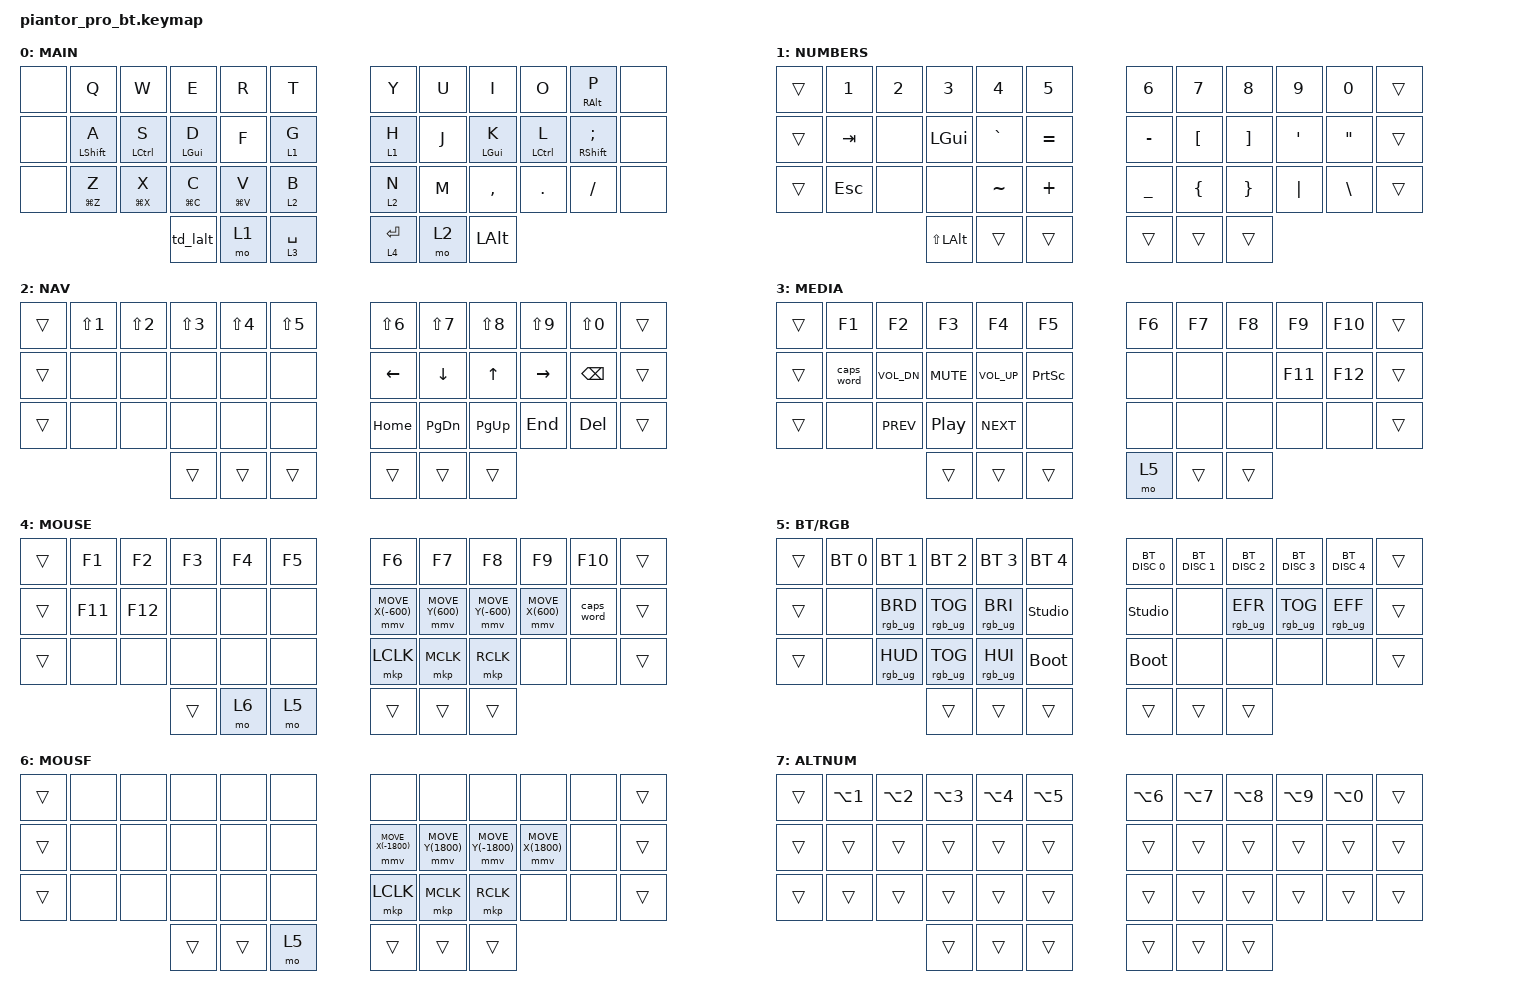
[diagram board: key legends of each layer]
/*
 * Copyright (c) 2020 The ZMK Contributors
 *
 * SPDX-License-Identifier: MIT
 */

#include <behaviors.dtsi>
#include <dt-bindings/zmk/keys.h>
#include <dt-bindings/zmk/bt.h>
#include <dt-bindings/zmk/rgb.h>
#include <dt-bindings/zmk/pointing.h>
#include "key-labels/split42.h"
#include "behaviors.dtsi"
#include "combos_split42.dtsi"

/ {
    chosen { zmk,physical-layout = &default_layout; };

    keymap {
        compatible = "zmk,keymap";

        default_layer {
            display-name = "MAIN";
            bindings = <
            &none   &kp Q               &kp W               &kp E               &kp R               &kp T            &kp Y           &kp U             &kp I                 &kp O            &hmr RALT P      &none
            &none   &hml LSHIFT A       &hml LCTRL S        &hml LGUI D         &kp F               &ltq 1 G         &ltq 1 H        &kp J             &hmr LGUI K           &hmr LCTRL L     &hmr RSHIFT SEMI &none
            &none   &mts LG(Z) Z        &mts LG(X) X        &mts LG(C) C        &mts LG(V) V        &ltq 2 B         &ltq 2 N        &kp M             &kp COMMA             &kp DOT          &kp FSLH         &none
                                                            &td_lalt            &mo 1               &lts 3 SPACE     &lts 4 RET      &mo 2             &kp LALT
>;
        };

        numbers_layer {
            display-name = "NUMBERS";
            bindings = <
            &trans  &kp N1              &kp N2              &kp N3              &kp N4              &kp N5           &kp N6          &kp N7            &kp N8                &kp N9           &kp N0           &trans
            &trans  &kp TAB             &none               &kp LGUI            &kp GRAVE           &kp EQUAL        &kp MINUS       &kp LBKT          &kp RBKT              &kp SQT          &kp DQT          &trans
            &trans  &kp ESC             &none               &none               &kp TILDE           &kp PLUS         &kp UNDER       &kp LBRC          &kp RBRC              &kp PIPE         &kp BSLH         &trans
                                                            &kp LS(LALT)        &trans              &trans           &trans          &trans            &trans
>;
        };

        nav_layer {
            display-name = "NAV";
            bindings = <
            &trans  &kp LS(N1)          &kp LS(N2)          &kp LS(N3)          &kp LS(N4)          &kp LS(N5)       &kp LS(N6)      &kp LS(N7)        &kp LS(N8)            &kp LS(N9)       &kp LS(N0)       &trans
            &trans  &none               &none               &none               &none               &none            &kp LEFT        &kp DOWN          &kp UP                &kp RIGHT        &kp BSPC         &trans
            &trans  &none               &none               &none               &none               &none            &kp HOME        &kp PG_DN         &kp PG_UP             &kp END          &kp DELETE       &trans
                                                            &trans              &trans              &trans           &trans          &trans            &trans
>;
        };

        media_layer {
            display-name = "MEDIA";
            bindings = <
            &trans  &kp F1              &kp F2              &kp F3              &kp F4              &kp F5           &kp F6          &kp F7            &kp F8                &kp F9           &kp F10          &trans
            &trans  &caps_word          &kp C_VOL_DN        &kp C_MUTE          &kp C_VOL_UP        &kp PRINTSCREEN  &none           &none             &none                 &kp F11          &kp F12          &trans
            &trans  &none               &kp C_PREV          &kp C_PP            &kp C_NEXT          &none            &none           &none             &none                 &none            &none            &trans
                                                            &trans              &trans              &trans           &mo 5           &trans            &trans
>;
        };

        mouse_layer {
            display-name = "MOUSE";
            bindings = <
            &trans  &kp F1              &kp F2              &kp F3              &kp F4              &kp F5           &kp F6          &kp F7            &kp F8                &kp F9           &kp F10          &trans
            &trans  &kp F11             &kp F12             &none               &none               &none            &mmv MOVE_X(-600) &mmv MOVE_Y(600) &mmv MOVE_Y(-600)    &mmv MOVE_X(600) &caps_word       &trans
            &trans  &none               &none               &none               &none               &none            &mkp LCLK       &mkp MCLK         &mkp RCLK             &none            &none            &trans
                                                            &trans              &mo 6               &mo 5            &trans          &trans            &trans
>;
        };

        btrgb_layer {
            display-name = "BT/RGB";
            bindings = <
            &trans  &bt BT_SEL 0        &bt BT_SEL 1        &bt BT_SEL 2        &bt BT_SEL 3        &bt BT_SEL 4     &bt BT_DISC 0   &bt BT_DISC 1     &bt BT_DISC 2         &bt BT_DISC 3    &bt BT_DISC 4    &trans
            &trans  &none               &rgb_ug RGB_BRD     &rgb_ug RGB_TOG     &rgb_ug RGB_BRI     &studio_unlock   &studio_unlock  &none             &rgb_ug RGB_EFR       &rgb_ug RGB_TOG  &rgb_ug RGB_EFF  &trans
            &trans  &none               &rgb_ug RGB_HUD     &rgb_ug RGB_TOG     &rgb_ug RGB_HUI     &bootloader      &bootloader     &none             &none                 &none            &none            &trans
                                                            &trans              &trans              &trans           &trans          &trans            &trans
>;
        };

        mousefast_layer {
            display-name = "MOUSF";
            bindings = <
            &trans  &none               &none               &none               &none               &none            &none           &none             &none                 &none            &none            &trans
            &trans  &none               &none               &none               &none               &none            &mmv MOVE_X(-1800) &mmv MOVE_Y(1800) &mmv MOVE_Y(-1800) &mmv MOVE_X(1800) &none            &trans
            &trans  &none               &none               &none               &none               &none            &mkp LCLK       &mkp MCLK         &mkp RCLK             &none            &none            &trans
                                                            &trans              &trans              &mo 5            &trans          &trans            &trans
>;
        };

        altnum_layer {
            display-name = "ALTNUM";
            bindings = <
            &trans  &kp LA(N1)          &kp LA(N2)          &kp LA(N3)          &kp LA(N4)          &kp LA(N5)       &kp LA(N6)      &kp LA(N7)        &kp LA(N8)            &kp LA(N9)       &kp LA(N0)       &trans
            &trans  &trans              &trans              &trans              &trans              &trans           &trans          &trans            &trans                &trans           &trans           &trans
            &trans  &trans              &trans              &trans              &trans              &trans           &trans          &trans            &trans                &trans           &trans           &trans
                                                            &trans              &trans              &trans           &trans          &trans            &trans
>;
        };
    };
};
